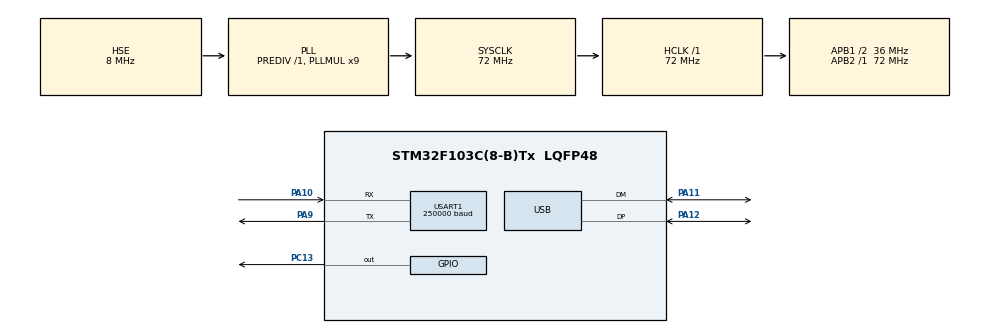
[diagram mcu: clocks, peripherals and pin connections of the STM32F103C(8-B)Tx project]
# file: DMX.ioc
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Mcu.Family=STM32F1
Mcu.Name=STM32F103C(8-B)Tx
Mcu.Package=LQFP48
NVIC.PriorityGroup=NVIC_PRIORITYGROUP_4
NVIC.USB_LP_CAN1_RX0_IRQn=true\:0\:0\:false\:false\:true\:false\:true\:true
PA10.Mode=Asynchronous
PA10.Signal=USART1_RX
PA11.Mode=Device
PA11.Signal=USB_DM
PA12.Mode=Device
PA12.Signal=USB_DP
PA13.Mode=Serial_Wire
PA13.Signal=SYS_JTMS-SWDIO
PA14.Mode=Serial_Wire
PA14.Signal=SYS_JTCK-SWCLK
PA9.Mode=Asynchronous
PA9.Signal=USART1_TX
PC13-TAMPER-RTC.Signal=GPIO_Output
PD0-OSC_IN.Mode=HSE-External-Oscillator
PD0-OSC_IN.Signal=RCC_OSC_IN
PD1-OSC_OUT.Mode=HSE-External-Oscillator
PD1-OSC_OUT.Signal=RCC_OSC_OUT
ProjectManager.HeapSize=0x200
ProjectManager.StackSize=0x400
ProjectManager.TargetToolchain=STM32CubeIDE
RCC.AHBFreq_Value=72000000
RCC.APB1CLKDivider=RCC_HCLK_DIV2
RCC.APB1Freq_Value=36000000
RCC.APB1TimFreq_Value=72000000
RCC.APB2Freq_Value=72000000
RCC.APB2TimFreq_Value=72000000
RCC.HCLKFreq_Value=72000000
RCC.PLLMUL=RCC_PLL_MUL9
RCC.PLLSourceVirtual=RCC_PLLSOURCE_HSE
RCC.SYSCLKFreq_VALUE=72000000
RCC.SYSCLKSource=RCC_SYSCLKSOURCE_PLLCLK
RCC.USBFreq_Value=48000000
RCC.USBPrescaler=RCC_USBCLKSOURCE_PLL_DIV1_5
TIM2.Period=9999
TIM2.Prescaler=7199
USART1.BaudRate=250000
USART1.StopBits=STOPBITS_2
USART1.VirtualMode=VM_ASYNC
USB_DEVICE.CLASS_NAME_FS=CDC
USB_DEVICE.VirtualMode=Cdc
USB_DEVICE.VirtualModeFS=Cdc_FS
VP_TIM2_VS_ClockSourceINT.Mode=Internal
VP_USB_DEVICE_VS_USB_DEVICE_CDC_FS.Mode=CDC_FS
board=custom

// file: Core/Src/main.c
/* USER CODE BEGIN Header */
/**
  ******************************************************************************
  * @file           : main.c
  * @brief          : Main program body
  ******************************************************************************
  * @attention
  *
  * Copyright (c) 2025 STMicroelectronics.
  * All rights reserved.
  *
  * This software is licensed under terms that can be found in the LICENSE file
  * in the root directory of this software component.
  * If no LICENSE file comes with this software, it is provided AS-IS.
  *
  ******************************************************************************
  */
/* USER CODE END Header */
#include "main.h"
#include "usb_device.h"

/* USER CODE BEGIN Includes */
#include <math.h>
#include <stdio.h>
#include <stdlib.h>
#include <stdbool.h>
#include "usbd_cdc_if.h"
#include "effects.h"
#include "flash.h"
/* USER CODE END Includes */

TIM_HandleTypeDef htim2;

UART_HandleTypeDef huart1;

/* USER CODE BEGIN PV */
#define RING_BUF_SIZE 3072
extern uint8_t UsbRingBuffer[RING_BUF_SIZE];
extern uint16_t RingWriteIdx;
extern uint16_t RingReadIdx;
extern volatile uint8_t UsbDataReady;

#define SCENARIO_START_BYTE  0xAA
#define MAX_SCENARIO_EVENTS  100
#define MAX_CHANGES_PER_EVENT 10

// Cấu trúc 1 sự kiện mốc thời gian kịch bản
// (DeviceChange_t đã được chuyển sang effects.h nên ta gỡ ở main.c để trống trải hơn)
typedef struct {
    uint32_t TimeMs;
    uint8_t ActiveNum;
    DeviceChange_t Changes[MAX_CHANGES_PER_EVENT];
} ScenarioEvent_t;

ScenarioEvent_t ScenarioTrack[MAX_SCENARIO_EVENTS];
uint16_t TotalScenarioEvents = 0;

uint8_t IsScenarioPlaying = 0;
uint32_t PlayStartTime = 0;
uint16_t CurrentPlayEventIdx = 0;
/* USER CODE END PV */

void SystemClock_Config(void);
static void MX_GPIO_Init(void);
static void MX_USART1_UART_Init(void);
static void MX_TIM2_Init(void);
/* USER CODE BEGIN PFP */
void Save_Scenario_To_Flash(void);
void Load_Scenario_From_Flash(void);
uint16_t GetRingBufferAvailable(void);
uint8_t PeekRingBuffer(uint16_t offset);
uint8_t PopRingBuffer(void);
uint8_t Parse_Scenario_Frame(void);
void MX_USART1_UART_DeInit(void);
void Send_DMX_Buffer(void);
void delay_us(uint32_t us);
/* USER CODE END PFP */

/* USER CODE BEGIN 0 */
uint16_t GetRingBufferAvailable(void)
{
    if (RingWriteIdx >= RingReadIdx) {
        return RingWriteIdx - RingReadIdx;
    } else {
        return (RING_BUF_SIZE - RingReadIdx) + RingWriteIdx;
    }
}

uint8_t PeekRingBuffer(uint16_t offset)
{
    uint16_t idx = (RingReadIdx + offset) % RING_BUF_SIZE;
    return UsbRingBuffer[idx];
}

uint8_t PopRingBuffer(void)
{
    uint8_t val = UsbRingBuffer[RingReadIdx];
    RingReadIdx = (RingReadIdx + 1) % RING_BUF_SIZE;
    return val;
}

uint8_t Parse_Scenario_Frame(void)
{
    uint16_t avail = GetRingBufferAvailable();
    if (avail < 4) return 0;

    // Đồng bộ byte khởi đầu gói dữ liệu
    while (GetRingBufferAvailable() > 0)
    {
        if (PeekRingBuffer(0) == SCENARIO_START_BYTE) {
            break;
        }
        PopRingBuffer();
    }

    if (GetRingBufferAvailable() < 4) return 0;

    uint8_t high_evt = PeekRingBuffer(1);
    uint8_t low_evt  = PeekRingBuffer(2);
    uint16_t temp_events = ((uint16_t)high_evt << 8) | low_evt;

    if (temp_events > MAX_SCENARIO_EVENTS) {
        PopRingBuffer();
        return 0;
    }

    uint32_t expected_length = 3;
    uint16_t offset = 3;

    for (uint16_t i = 0; i < temp_events; i++) {
        if (avail < offset + 5) return 0;
        uint8_t active_num = PeekRingBuffer(offset + 4);
        expected_length += 5 + (active_num * 7);
        offset += 5 + (active_num * 7);
    }
    expected_length += 1;

    if (avail < expected_length) {
        return 0;
    }

    // Checksum tính toán
    uint8_t calculated_checksum = 0;
    for (uint32_t i = 0; i < expected_length - 1; i++) {
        calculated_checksum ^= PeekRingBuffer(i);
    }
    uint8_t frame_checksum = PeekRingBuffer(expected_length - 1);

    if (calculated_checksum != frame_checksum) {
        for (uint32_t i = 0; i < expected_length; i++) PopRingBuffer();
        return 2;
    }

    PopRingBuffer();
    PopRingBuffer();
    PopRingBuffer();
    TotalScenarioEvents = temp_events;

    for (uint16_t i = 0; i < TotalScenarioEvents; i++)
    {
        uint32_t t = (uint32_t)PopRingBuffer() << 24;
        t |= (uint32_t)PopRingBuffer() << 16;
        t |= (uint32_t)PopRingBuffer() << 8;
        t |= (uint32_t)PopRingBuffer();
        ScenarioTrack[i].TimeMs = t;

        uint8_t active = PopRingBuffer();
        ScenarioTrack[i].ActiveNum = (active > MAX_CHANGES_PER_EVENT) ? MAX_CHANGES_PER_EVENT : active;

        for (uint8_t j = 0; j < active; j++)
        {
            DeviceChange_t change;
            change.Address = (uint16_t)PopRingBuffer() << 8;
            change.Address |= (uint16_t)PopRingBuffer();

            change.EffectID = PopRingBuffer();
            change.Speed = PopRingBuffer();
            change.Data1 = PopRingBuffer();
            change.Data2 = PopRingBuffer();
            change.Data3 = PopRingBuffer();

            if (j < MAX_CHANGES_PER_EVENT) {
                ScenarioTrack[i].Changes[j] = change;
            }
        }
    }
    PopRingBuffer();

    Save_Scenario_To_Flash();

    IsScenarioPlaying = 1;
    PlayStartTime = HAL_GetTick();
    CurrentPlayEventIdx = 0;

    return 1;
}

#define ADDR_FLASH_SCENARIO_START    ((uint32_t)0x0800F000)

void Save_Scenario_To_Flash(void)
{
    HAL_FLASH_Unlock();
    FLASH_EraseInitTypeDef EraseInitStruct;
    uint32_t PageError = 0;
    EraseInitStruct.TypeErase   = FLASH_TYPEERASE_PAGES;
    EraseInitStruct.PageAddress = ADDR_FLASH_SCENARIO_START;
    EraseInitStruct.NbPages     = 4;

    if (HAL_FLASHEx_Erase(&EraseInitStruct, &PageError) == HAL_OK)
    {
        uint32_t current_addr = ADDR_FLASH_SCENARIO_START;
        HAL_FLASH_Program(FLASH_TYPEPROGRAM_HALFWORD, current_addr, TotalScenarioEvents);
        current_addr += 2;

        for (uint16_t i = 0; i < TotalScenarioEvents; i++)
        {
            HAL_FLASH_Program(FLASH_TYPEPROGRAM_WORD, current_addr, ScenarioTrack[i].TimeMs);
            current_addr += 4;

            HAL_FLASH_Program(FLASH_TYPEPROGRAM_WORD, current_addr, ScenarioTrack[i].ActiveNum);
            current_addr += 4;

            for (uint8_t j = 0; j < ScenarioTrack[i].ActiveNum; j++)
            {
                DeviceChange_t ch = ScenarioTrack[i].Changes[j];
                uint32_t w1 = ((uint32_t)ch.Address) | ((uint32_t)ch.EffectID << 16) | ((uint32_t)ch.Speed << 24);
                uint32_t w2 = ((uint32_t)ch.Data1) | ((uint32_t)ch.Data2 << 8) | ((uint32_t)ch.Data3 << 16);

                HAL_FLASH_Program(FLASH_TYPEPROGRAM_WORD, current_addr, w1);
                current_addr += 4;
                HAL_FLASH_Program(FLASH_TYPEPROGRAM_WORD, current_addr, w2);
                current_addr += 4;
            }
        }
    }
    HAL_FLASH_Lock();
}

void Load_Scenario_From_Flash(void)
{
    uint32_t current_addr = ADDR_FLASH_SCENARIO_START;
    uint16_t stored_events = *(__IO uint16_t*)current_addr;
    current_addr += 2;

    if (stored_events == 0xFFFF || stored_events > MAX_SCENARIO_EVENTS) {
        TotalScenarioEvents = 0;
        return;
    }

    TotalScenarioEvents = stored_events;
    for (uint16_t i = 0; i < TotalScenarioEvents; i++)
    {
        ScenarioTrack[i].TimeMs = *(__IO uint32_t*)current_addr;
        current_addr += 4;

        uint32_t raw_active_num = *(__IO uint32_t*)current_addr;
        current_addr += 4;

        uint32_t load_active_num = raw_active_num;
        if (load_active_num > MAX_CHANGES_PER_EVENT) {
            load_active_num = MAX_CHANGES_PER_EVENT;
        }
        ScenarioTrack[i].ActiveNum = (uint8_t)load_active_num;

        for (uint8_t j = 0; j < raw_active_num; j++)
        {
            uint32_t w1 = *(__IO uint32_t*)current_addr;
            current_addr += 4;
            uint32_t w2 = *(__IO uint32_t*)current_addr;
            current_addr += 4;

            if (j < MAX_CHANGES_PER_EVENT) {
                ScenarioTrack[i].Changes[j].Address = (uint16_t)(w1 & 0xFFFF);
                ScenarioTrack[i].Changes[j].EffectID = (uint8_t)((w1 >> 16) & 0xFF);
                ScenarioTrack[i].Changes[j].Speed = (uint8_t)((w1 >> 24) & 0xFF);

                ScenarioTrack[i].Changes[j].Data1 = (uint8_t)(w2 & 0xFF);
                ScenarioTrack[i].Changes[j].Data2 = (uint8_t)((w2 >> 8) & 0xFF);
                ScenarioTrack[i].Changes[j].Data3 = (uint8_t)((w2 >> 16) & 0xFF);
            }
        }
    }
}
/* USER CODE END 0 */

int main(void)
{

  /* MCU Configuration--------------------------------------------------------*/

  /* Reset of all peripherals, Initializes the Flash interface and the Systick. */
  HAL_Init();

  /* Configure the system clock */
  SystemClock_Config();

  /* Initialize all configured peripherals */
  MX_GPIO_Init();
  MX_USART1_UART_Init();
  MX_USB_DEVICE_Init();
  MX_TIM2_Init();
  /* USER CODE BEGIN 2 */
    // Tải kịch bản đã lưu từ bộ nhớ flash khi bo mạch khởi động lại (reset)
    Load_Scenario_From_Flash();

    // NẾU CÓ DỮ LIỆU ĐÃ LƯU, TỰ ĐỘNG CHẠY LUÔN KHỎI CHỜ
    if(TotalScenarioEvents > 0) {
        IsScenarioPlaying = 1;
        PlayStartTime = HAL_GetTick();
    }
    /* USER CODE END 2 */

    /* Infinite loop */
      /* USER CODE BEGIN WHILE */
      while (1)
      {
          // 1. Nhận thông tin mới từ USB tải xuống (Nếu App gửi)
          if (UsbDataReady)
          {
              Parse_Scenario_Frame();
              UsbDataReady = 0;
          }

          // 2. Chạy quét trục thời gian của kịch bản
          if (IsScenarioPlaying && TotalScenarioEvents > 0)
          {
              uint32_t elapsed = HAL_GetTick() - PlayStartTime;

              while (CurrentPlayEventIdx < TotalScenarioEvents && elapsed >= ScenarioTrack[CurrentPlayEventIdx].TimeMs)
              {
                  ScenarioEvent_t current_event = ScenarioTrack[CurrentPlayEventIdx];
                  for (uint8_t i = 0; i < current_event.ActiveNum; i++)
                  {
                      Update_Device_Effect(current_event.Changes[i]);
                  }
                  CurrentPlayEventIdx++;
              }

              if (CurrentPlayEventIdx >= TotalScenarioEvents)
              {
                  IsScenarioPlaying = 0;
                  CurrentPlayEventIdx = 0;
                  Clear_All_Effects();
                  // Gửi thêm 1 khung trắng (tất cả 0) để tắt sạch thiết bị trước khi ngưng truyền hoàn toàn
                  Send_DMX_Buffer();
              }
          }

        // 3. Tính toán hình thái đồ thị LED/Motor (Lưu nội bộ vào mảng DMX_Buffer)
          Update_Active_Effects_Loop();

          // 4. Bắn Start Code chuẩn và xuất 512 Kênh DMX ra UART phần cứng đồng bộ khi đang phát kịch bản
          if (IsScenarioPlaying && TotalScenarioEvents > 0)
          {
              Send_DMX_Buffer();
          }

          HAL_Delay(25); // Làm mượt, tạo frame rate khoảng 40 khung hình / giây
        /* USER CODE END WHILE */

      }
}

void SystemClock_Config(void)
{
  RCC_OscInitTypeDef RCC_OscInitStruct = {0};
  RCC_ClkInitTypeDef RCC_ClkInitStruct = {0};
  RCC_PeriphCLKInitTypeDef PeriphClkInit = {0};

  /** Initializes the RCC Oscillators according to the specified parameters
  * in the RCC_OscInitTypeDef structure.
  */
  RCC_OscInitStruct.OscillatorType = RCC_OSCILLATORTYPE_HSE;
  RCC_OscInitStruct.HSEState = RCC_HSE_ON;
  RCC_OscInitStruct.HSEPredivValue = RCC_HSE_PREDIV_DIV1;
  RCC_OscInitStruct.HSIState = RCC_HSI_ON;
  RCC_OscInitStruct.PLL.PLLState = RCC_PLL_ON;
  RCC_OscInitStruct.PLL.PLLSource = RCC_PLLSOURCE_HSE;
  RCC_OscInitStruct.PLL.PLLMUL = RCC_PLL_MUL9;
  if (HAL_RCC_OscConfig(&RCC_OscInitStruct) != HAL_OK)
  {
    Error_Handler();
  }

  /** Initializes the CPU, AHB and APB buses clocks
  */
  RCC_ClkInitStruct.ClockType = RCC_CLOCKTYPE_HCLK|RCC_CLOCKTYPE_SYSCLK
                              |RCC_CLOCKTYPE_PCLK1|RCC_CLOCKTYPE_PCLK2;
  RCC_ClkInitStruct.SYSCLKSource = RCC_SYSCLKSOURCE_PLLCLK;
  RCC_ClkInitStruct.AHBCLKDivider = RCC_SYSCLK_DIV1;
  RCC_ClkInitStruct.APB1CLKDivider = RCC_HCLK_DIV2;
  RCC_ClkInitStruct.APB2CLKDivider = RCC_HCLK_DIV1;

  if (HAL_RCC_ClockConfig(&RCC_ClkInitStruct, FLASH_LATENCY_2) != HAL_OK)
  {
    Error_Handler();
  }
  PeriphClkInit.PeriphClockSelection = RCC_PERIPHCLK_USB;
  PeriphClkInit.UsbClockSelection = RCC_USBCLKSOURCE_PLL_DIV1_5;
  if (HAL_RCCEx_PeriphCLKConfig(&PeriphClkInit) != HAL_OK)
  {
    Error_Handler();
  }
}

static void MX_TIM2_Init(void)
{

  TIM_ClockConfigTypeDef sClockSourceConfig = {0};
  TIM_MasterConfigTypeDef sMasterConfig = {0};

  htim2.Instance = TIM2;
  htim2.Init.Prescaler = 7199;
  htim2.Init.CounterMode = TIM_COUNTERMODE_UP;
  htim2.Init.Period = 9999;
  htim2.Init.ClockDivision = TIM_CLOCKDIVISION_DIV1;
  htim2.Init.AutoReloadPreload = TIM_AUTORELOAD_PRELOAD_DISABLE;
  if (HAL_TIM_Base_Init(&htim2) != HAL_OK)
  {
    Error_Handler();
  }
  sClockSourceConfig.ClockSource = TIM_CLOCKSOURCE_INTERNAL;
  if (HAL_TIM_ConfigClockSource(&htim2, &sClockSourceConfig) != HAL_OK)
  {
    Error_Handler();
  }
  sMasterConfig.MasterOutputTrigger = TIM_TRGO_RESET;
  sMasterConfig.MasterSlaveMode = TIM_MASTERSLAVEMODE_DISABLE;
  if (HAL_TIMEx_MasterConfigSynchronization(&htim2, &sMasterConfig) != HAL_OK)
  {
    Error_Handler();
  }

}

static void MX_USART1_UART_Init(void)
{

  huart1.Instance = USART1;
  huart1.Init.BaudRate = 250000;
  huart1.Init.WordLength = UART_WORDLENGTH_8B;
  huart1.Init.StopBits = UART_STOPBITS_2;
  huart1.Init.Parity = UART_PARITY_NONE;
  huart1.Init.Mode = UART_MODE_TX_RX;
  huart1.Init.HwFlowCtl = UART_HWCONTROL_NONE;
  huart1.Init.OverSampling = UART_OVERSAMPLING_16;
  if (HAL_UART_Init(&huart1) != HAL_OK)
  {
    Error_Handler();
  }

}

static void MX_GPIO_Init(void)
{
  GPIO_InitTypeDef GPIO_InitStruct = {0};

  /* GPIO Ports Clock Enable */
  __HAL_RCC_GPIOC_CLK_ENABLE();
  __HAL_RCC_GPIOD_CLK_ENABLE();
  __HAL_RCC_GPIOA_CLK_ENABLE();

  /*Configure GPIO pin Output Level */
  HAL_GPIO_WritePin(GPIOC, GPIO_PIN_13, GPIO_PIN_RESET);

  /*Configure GPIO pin : PC13 */
  GPIO_InitStruct.Pin = GPIO_PIN_13;
  GPIO_InitStruct.Mode = GPIO_MODE_OUTPUT_PP;
  GPIO_InitStruct.Pull = GPIO_NOPULL;
  GPIO_InitStruct.Speed = GPIO_SPEED_FREQ_LOW;
  HAL_GPIO_Init(GPIOC, &GPIO_InitStruct);

}

/* USER CODE BEGIN 4 */

// ------ KHỐI HÀM PHỤC VỤ TRUYỀN DMX512 ------ //

// Hàm tạo trễ khoảng vi giây bằng vòng lặp (Chặn Compiler tối ưu hóa bằng từ khóa volatile)
void delay_us(uint32_t us)
{
    // Giả sử xung nhịp hệ thống STM32F103 là 72MHz.
    uint32_t count = us * (72 / 4);
    for(volatile uint32_t i = 0; i < count; i++);
}

void Config_PA9_Output(void)
{
    GPIO_InitTypeDef GPIO_InitStruct = {0};
    __HAL_RCC_GPIOA_CLK_ENABLE();
    GPIO_InitStruct.Pin = GPIO_PIN_9;
    GPIO_InitStruct.Mode = GPIO_MODE_OUTPUT_PP;
    GPIO_InitStruct.Pull = GPIO_NOPULL;
    GPIO_InitStruct.Speed = GPIO_SPEED_FREQ_HIGH;
    HAL_GPIO_Init(GPIOA, &GPIO_InitStruct);
}

void MX_USART1_UART_DeInit(void)
{
    HAL_UART_DeInit(&huart1);
    __HAL_RCC_USART1_CLK_DISABLE();
    HAL_GPIO_DeInit(GPIOA, GPIO_PIN_9 | GPIO_PIN_10);
}

void Send_DMX_Buffer(void)
{
    // CƠ CHẾ SINH START CODE VÀ ĐỒNG BỘ DMX512

    // 1. Phá vỡ UART để giành quyền điều khiển chân PA9 bằng tay
    HAL_UART_DeInit(&huart1);
    Config_PA9_Output();

    // 2. Gửi tín hiệu Pulse Break (Kéo Low khoảng 100 µs - Chuẩn yêu cầu > 88µs)
    HAL_GPIO_WritePin(GPIOA, GPIO_PIN_9, GPIO_PIN_RESET);
    delay_us(150); // Tăng Break lên 150us để RX dễ dàng nhận diện hơn

    // 3. Gửi tín hiệu MAB - Mark After Break (Kéo High)
    HAL_GPIO_WritePin(GPIOA, GPIO_PIN_9, GPIO_PIN_SET);
    // Quan trọng: Vì hàm ngắt FE bên RX sử dụng HAL_UART_DMAStop/Receive chạy rất chậm (mất hàng chục us),
    // ta CẦN thả MAB dài ra để RX kịp thời setup lại bộ nhận xong DMA trước khi bit 0x00 đầu tiên chạy vào!
    delay_us(200);

    // 4. Áp lại bộ UART1 (PA9 tự động quay dính về chip UART phần cứng)
    MX_USART1_UART_Init();
    delay_us(20); // Chờ thêm 1 tí xíu cho thiết lập UART ổn định hoàn toàn

    // 5. Gửi lập tức 513 bytes. DMX_Buffer[0] mặc định = 0x00 chính là Start Code.
    DMX_Buffer[0] = 0;
    HAL_UART_Transmit(&huart1, DMX_Buffer, 513, 100);
}

// ---------------------------------------------- //

/* USER CODE END 4 */

void Error_Handler(void)
{
  __disable_irq();
  while (1)
  {
  }
}
